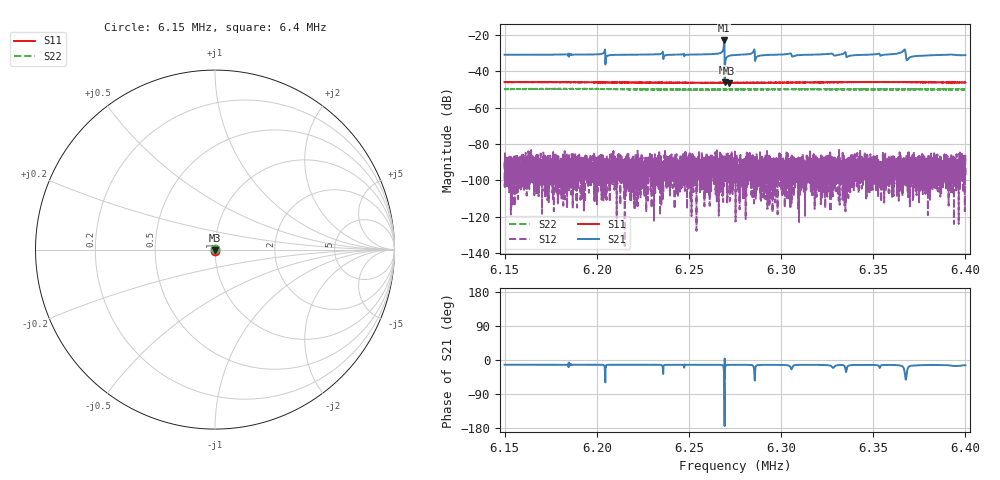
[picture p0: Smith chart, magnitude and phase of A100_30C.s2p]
!CETC41,AV3656A,ZGL00048,1.3.2
!Calibration ON (Full Solt 2-Port(Omit Isolation))
!Measurements: S11 S21 S12 S22
!2025-04-22 21:12
# Hz  S  dB  R 50.000
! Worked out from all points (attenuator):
!   6401 points, 6.15 MHz to 6.4 MHz, reference 50 ohm
!   highest |S21| = -22.92 dB at 6.2692 MHz (marker M1); lowest = -45.8 dB at 6.2694 MHz (marker M2)
!   lowest |S11| = -46.3 dB at 6.2719 MHz (marker M3), VSWR 1.01, Z = 50 - j0.48 ohm
!   |S11| at or under -10 dB: start of sweep to end of sweep
!   |S22| runs from -50.1 to -49.5 dB; largest |S21 - S12| = 0.071
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6150000  -45.85 -95.2  -30.78 -12.4  -89.73 132.3  -49.70 102.0
6191680  -45.96 -95.6  -30.70 -12.6  -97.67 -136.7  -49.64 104.0
6203359  -46.07 -95.3  -30.11 -12.9  -95.24 121.0  -49.63 103.7
6205898  -46.07 -95.6  -31.29 -12.8  -93.18 118.1  -49.64 103.9
6233359  -46.20 -95.7  -30.53 -12.7  -94.39 -52.6  -49.94 103.3
6263711  -46.25 -94.7  -30.36 -12.7  -87.32 89.6  -50.01 102.5
6268086  -46.26 -94.6  -29.10 -13.4  -104.57 -40.8  -49.91 102.7
6269180  -46.27 -94.7  -22.92 -62.8  -98.15 96.2  -50.01 102.3
6269414  -46.26 -94.5  -45.76 3.8  -96.93 -134.1  -49.86 102.1
6270625  -46.25 -94.7  -32.08 -13.3  -90.59 -15.9  -49.95 102.5
6271914  -46.35 -94.5  -31.36 -12.7  -90.41 31.8  -49.91 102.5
6275000  -46.23 -94.3  -30.94 -12.8  -84.16 66.3  -49.90 102.6
6284414  -46.22 -94.2  -29.79 -13.8  -93.28 -97.6  -49.85 102.7
6286992  -46.25 -94.3  -31.81 -13.8  -94.89 131.7  -49.81 102.1
6304180  -46.15 -94.1  -30.26 -14.8  -95.35 -25.8  -49.74 102.2
6306953  -46.06 -93.9  -31.49 -14.0  -93.94 150.9  -49.74 102.5
6316680  -46.03 -94.2  -30.75 -12.8  -92.36 -9.3  -49.75 102.3
6358359  -45.90 -94.3  -30.59 -13.1  -95.68 -99.4  -49.88 103.8
6366328  -45.90 -94.6  -28.64 -19.5  -92.12 70.5  -49.81 104.8
6369063  -45.88 -95.0  -32.96 -19.3  -96.71 100.9  -49.74 104.4
6374063  -45.92 -94.9  -31.45 -14.1  -93.98 51.9  -49.76 104.5
6400000  -46.10 -95.0  -31.00 -14.0  -91.41 132.2  -49.91 104.1
